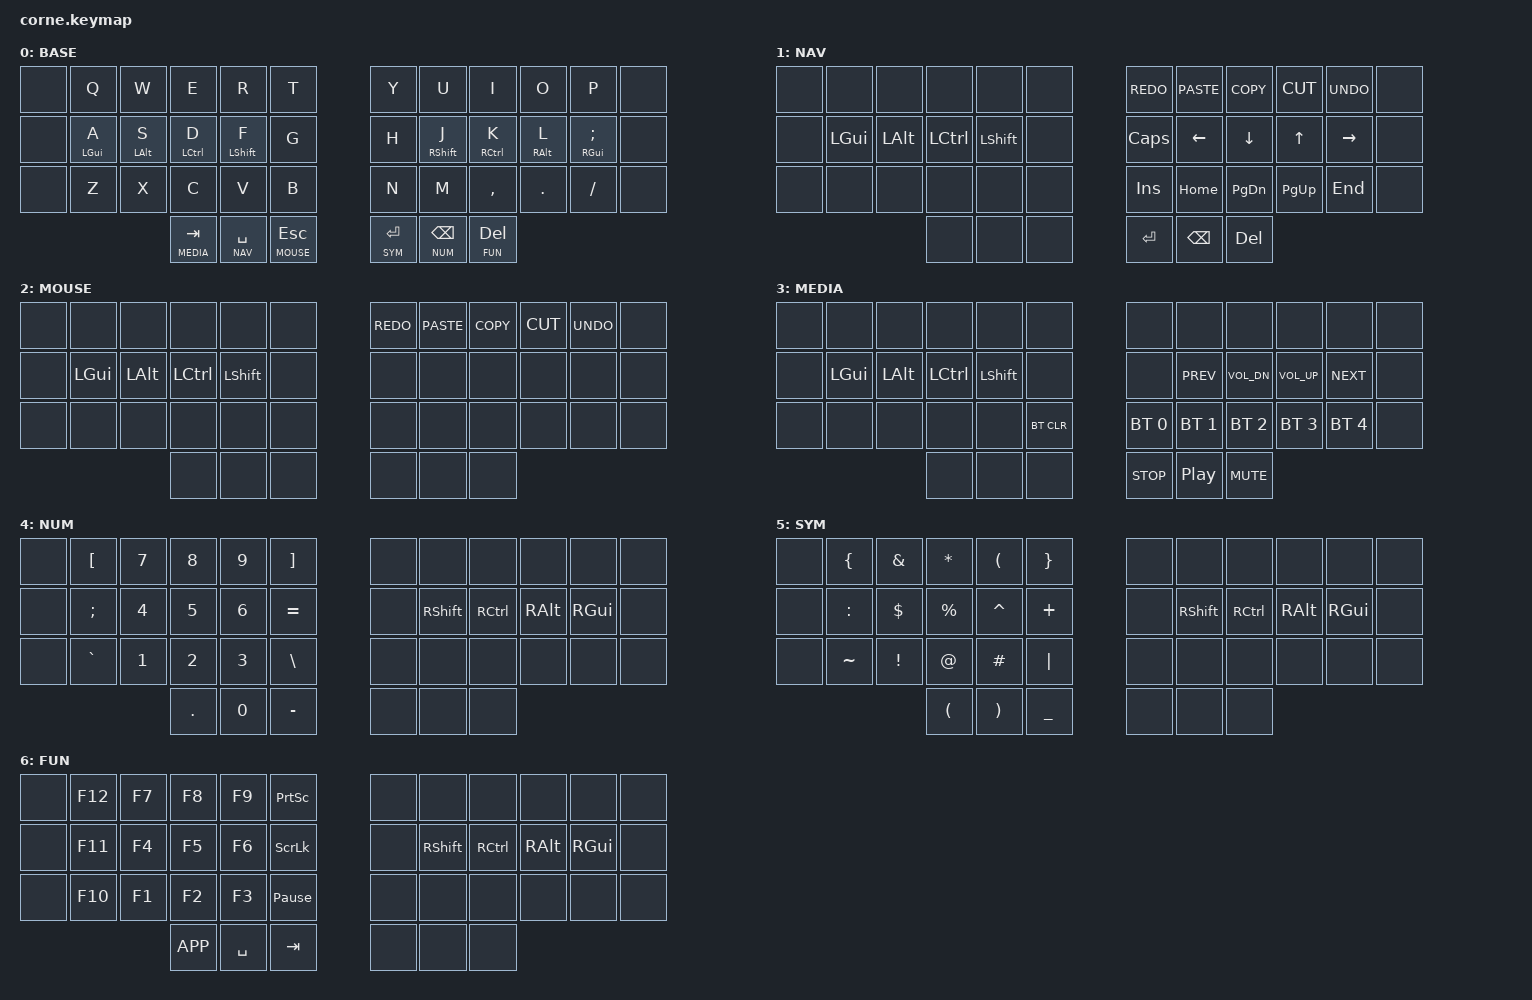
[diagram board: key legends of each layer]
/*
 * MIRYOKU LAYOUT - QWERTY VARIANT
 * For Corne 3x5+3 Split Keyboard
 *
 * This is a standalone implementation of the Miryoku layout with QWERTY alphas
 * Based on: https://github.com/manna-harbour/miryoku
 *
 * LAYOUT PHILOSOPHY:
 * - 36 keys total (30 alphas + 6 thumb keys)
 * - Home row modifiers (mod-tap keys)
 * - Layer-tap on thumbs for accessing additional layers
 * - Maximum 1-unit finger travel from home position
 * - Layers accessed by holding opposite hand thumb key
 *
 * LAYERS:
 * 0. BASE   - QWERTY alphas with home row mods
 * 1. NAV    - Navigation, editing (arrows, home/end, etc.)
 * 2. MOUSE  - Mouse emulation
 * 3. MEDIA  - Media controls, RGB, Bluetooth
 * 4. NUM    - Numbers and symbols (numpad-style)
 * 5. SYM    - Shifted symbols
 * 6. FUN    - Function keys F1-F12
 *
 * THUMB KEY ASSIGNMENTS:
 * Left:  TAB (Media) | SPACE (Nav) | ESC (Mouse)
 * Right: ENTER (Sym) | BACKSPACE (Num) | DELETE (Fun)
 *
 * HOME ROW MODS (tap for letter, hold for modifier):
 * Left:  A=GUI | S=ALT | D=CTRL | F=SHIFT
 * Right: J=SHIFT | K=CTRL | L=ALT | ;=GUI
 *
 * TAPPING TERM: 200ms (adjust to your preference)
 */

#include <behaviors.dtsi>
#include <dt-bindings/zmk/keys.h>
#include <dt-bindings/zmk/bt.h>
#include <dt-bindings/zmk/outputs.h>
#include <dt-bindings/zmk/mouse.h>

// Layer definitions
#define BASE   0
#define NAV    1
#define MOUSE  2
#define MEDIA  3
#define NUM    4
#define SYM    5
#define FUN    6

// Behavior configuration
&mt {
    tapping-term-ms = <200>;
    flavor = "tap-preferred";
};

&lt {
    tapping-term-ms = <200>;
    flavor = "tap-preferred";
};

/ {
    behaviors {
        // Home row mods (mod-tap)
        hml: homerow_mods_left {
            compatible = "zmk,behavior-hold-tap";
            #binding-cells = <2>;
            tapping-term-ms = <200>;
            quick-tap-ms = <175>;
            require-prior-idle-ms = <150>;
            flavor = "balanced";
            bindings = <&kp>, <&kp>;
            hold-trigger-key-positions = <5 6 7 8 9 15 16 17 18 19 25 26 27 28 29 32 33 34>;  // Right hand + thumbs
            hold-trigger-on-release;
        };

        hmr: homerow_mods_right {
            compatible = "zmk,behavior-hold-tap";
            #binding-cells = <2>;
            tapping-term-ms = <200>;
            quick-tap-ms = <175>;
            require-prior-idle-ms = <150>;
            flavor = "balanced";
            bindings = <&kp>, <&kp>;
            hold-trigger-key-positions = <0 1 2 3 4 10 11 12 13 14 20 21 22 23 24 30 31 32>;  // Left hand + thumbs
            hold-trigger-on-release;
        };
    };

    keymap {
        compatible = "zmk,keymap";

        /*
         * BASE LAYER (QWERTY)
         * ┌─────┬─────┬─────┬─────┬─────┐     ┌─────┬─────┬─────┬─────┬─────┐
         * │  Q  │  W  │  E  │  R  │  T  │     │  Y  │  U  │  I  │  O  │  P  │
         * ├─────┼─────┼─────┼─────┼─────┤     ├─────┼─────┼─────┼─────┼─────┤
         * │  A  │  S  │  D  │  F  │  G  │     │  H  │  J  │  K  │  L  │  ;  │
         * │ GUI │ ALT │CTRL │SHFT │     │     │     │SHFT │CTRL │ ALT │ GUI │
         * ├─────┼─────┼─────┼─────┼─────┤     ├─────┼─────┼─────┼─────┼─────┤
         * │  Z  │  X  │  C  │  V  │  B  │     │  N  │  M  │  ,  │  .  │  /  │
         * └─────┴─────┴─────┴──┬──┴──┬──┴─┐ ┌─┴──┬──┴──┬──┴─────┴─────┴─────┘
         *                │ TAB │ SPC │ ESC │ │ ENT │ BSPC│ DEL │
         *                │Media│ Nav │Mouse│ │ Sym │ Num │ Fun │
         *                │  3  │  1  │  2  │ │  5  │  4  │  6  │
         *                └─────┴─────┴─────┘ └─────┴─────┴─────┘
         */
        base_layer {
            display-name = "BASE";
            bindings = <
                &none   &kp Q           &kp W           &kp E            &kp R            &kp T              &kp Y        &kp U            &kp I            &kp O           &kp P   &none
                &none   &hml LGUI A     &hml LALT S     &hml LCTRL D     &hml LSHFT F     &kp G              &kp H        &hmr RSHFT J     &hmr RCTRL K     &hmr RALT L     &hmr RGUI SEMI  &none
                &none   &kp Z           &kp X           &kp C            &kp V            &kp B              &kp N        &kp M            &kp COMMA        &kp DOT         &kp SLASH   &none
                                                &lt MEDIA TAB    &lt NAV SPACE    &lt MOUSE ESC      &lt SYM RET  &lt NUM BSPC     &lt FUN DEL
            >;
        };

        /*
         * NAV LAYER (Navigation & Editing)
         * ┌─────┬─────┬─────┬─────┬─────┐     ┌─────┬─────┬─────┬─────┬─────┐
         * │     │     │     │     │     │     │ Redo│Paste│ Copy│ Cut │ Undo│
         * ├─────┼─────┼─────┼─────┼─────┤     ├─────┼─────┼─────┼─────┼─────┤
         * │ GUI │ ALT │CTRL │SHFT │     │     │Caps │  ←  │  ↓  │  ↑  │  →  │
         * ├─────┼─────┼─────┼─────┼─────┤     ├─────┼─────┼─────┼─────┼─────┤
         * │     │     │     │     │     │     │ Ins │ Home│ PgDn│ PgUp│ End │
         * └─────┴─────┴─────┴──┬──┴──┬──┴─┐ ┌─┴──┬──┴──┬──┴─────┴─────┴─────┘
         *                      │     │HLD │ │ ENT │ BSPC│ DEL │
         *                      └─────┴─────┘ └─────┴─────┴─────┘
         */
        nav_layer {
            display-name = "NAV";
            bindings = <
                &none   &none       &none       &none        &none        &none            &kp K_REDO   &kp K_PASTE  &kp K_COPY   &kp K_CUT    &kp K_UNDO   &none
                &none   &kp LGUI    &kp LALT    &kp LCTRL    &kp LSHFT    &none            &kp CAPS     &kp LEFT     &kp DOWN     &kp UP       &kp RIGHT    &none
                &none   &none       &none       &none        &none        &none            &kp INS      &kp HOME     &kp PG_DN    &kp PG_UP    &kp END  &none
                                        &none        &none        &none            &kp RET      &kp BSPC     &kp DEL
            >;
        };

        /*
         * MOUSE LAYER (Mouse Emulation)
         * ┌─────┬─────┬─────┬─────┬─────┐     ┌─────┬─────┬─────┬─────┬─────┐
         * │     │     │     │     │     │     │ Redo│Paste│ Copy│ Cut │ Undo│
         * ├─────┼─────┼─────┼─────┼─────┤     ├─────┼─────┼─────┼─────┼─────┤
         * │ GUI │ ALT │CTRL │SHFT │     │     │     │ Ms ←│ Ms ↓│ Ms ↑│ Ms →│
         * ├─────┼─────┼─────┼─────┼─────┤     ├─────┼─────┼─────┼─────┼─────┤
         * │     │     │     │     │     │     │     │ Wh ←│ Wh ↓│ Wh ↑│ Wh →│
         * └─────┴─────┴─────┴──┬──┴──┬──┴─┐ ┌─┴──┬──┴──┬──┴─────┴─────┴─────┘
         *                      │     │     │ │ Btn1│ Btn3│ Btn2│
         *                      └─────┴─────┘ └─────┴─────┴─────┘
         */
        mouse_layer {
            display-name = "MOUSE";
            bindings = <
                &none   &none       &none       &none        &none        &none            &kp K_REDO     &kp K_PASTE     &kp K_COPY      &kp K_CUT       &kp K_UNDO    &none
                &none   &kp LGUI    &kp LALT    &kp LCTRL    &kp LSHFT    &none            &none          &none           &none           &none           &none &none
                &none   &none       &none       &none        &none        &none            &none          &none           &none           &none           &none &none
                                        &none        &none        &none            &none          &none           &none
            >;
        };

        /*
         * MEDIA LAYER (Media Controls, RGB, Bluetooth)
         * ┌─────┬─────┬─────┬─────┬─────┐     ┌─────┬─────┬─────┬─────┬─────┐
         * │     │     │     │     │     │     │ RGB │ RGB │ RGB │ RGB │ RGB │
         * │     │     │     │     │     │     │ TOG │ HUI │ SAI │ BRI │ EFF │
         * ├─────┼─────┼─────┼─────┼─────┤     ├─────┼─────┼─────┼─────┼─────┤
         * │ GUI │ ALT │CTRL │SHFT │     │     │     │ Prev│ Vol-│ Vol+│ Next│
         * ├─────┼─────┼─────┼─────┼─────┤     ├─────┼─────┼─────┼─────┼─────┤
         * │     │     │     │     │     │     │ BT 0│ BT 1│ BT 2│ BT 3│ BT 4│
         * └─────┴─────┴─────┴──┬──┴──┬──┴─┐ ┌─┴──┬──┴──┬──┴─────┴─────┴─────┘
         *                      │ HLD │     │ │ Stop│Pause│ Mute│
         *                      └─────┴─────┘ └─────┴─────┴─────┘
         */
        media_layer {
            display-name = "MEDIA";
            bindings = <
                &none   &none       &none       &none        &none        &none            &none            &none            &none            &none            &none    &none
                &none   &kp LGUI    &kp LALT    &kp LCTRL    &kp LSHFT    &none            &none            &kp C_PREV       &kp C_VOL_DN     &kp C_VOL_UP     &kp C_NEXT   &none
                &none   &none       &none       &none        &none        &bt BT_CLR            &bt BT_SEL 0     &bt BT_SEL 1     &bt BT_SEL 2     &bt BT_SEL 3     &bt BT_SEL 4 &none
                                        &none        &none        &none            &kp C_STOP       &kp C_PP         &kp C_MUTE
            >;
        };

        /*
         * NUM LAYER (Numbers & Symbols - Numpad Style)
         * ┌─────┬─────┬─────┬─────┬─────┐     ┌─────┬─────┬─────┬─────┬─────┐
         * │  [  │  7  │  8  │  9  │  ]  │     │     │     │     │     │     │
         * ├─────┼─────┼─────┼─────┼─────┤     ├─────┼─────┼─────┼─────┼─────┤
         * │  ;  │  4  │  5  │  6  │  =  │     │     │SHFT │CTRL │ ALT │ GUI │
         * ├─────┼─────┼─────┼─────┼─────┤     ├─────┼─────┼─────┼─────┼─────┤
         * │  `  │  1  │  2  │  3  │  \  │     │     │     │     │     │     │
         * └─────┴─────┴─────┴──┬──┴──┬──┴─┐ ┌─┴──┬──┴──┬──┴─────┴─────┴─────┘
         *                      │  .  │  0  │ │     │ HLD │     │
         *                      └─────┴─────┘ └─────┴─────┴─────┘
         */
        num_layer {
            display-name = "NUM";
            bindings = <
                &none   &kp LBKT    &kp N7      &kp N8       &kp N9       &kp RBKT         &none        &none        &none        &none       &none &none
                &none   &kp SEMI    &kp N4      &kp N5       &kp N6       &kp EQUAL        &none        &kp RSHFT    &kp RCTRL    &kp RALT    &kp RGUI  &none
                &none   &kp GRAVE   &kp N1      &kp N2       &kp N3       &kp BSLH         &none        &none        &none        &none       &none &none
                                        &kp DOT      &kp N0       &kp MINUS        &none        &none        &none
            >;
        };

        /*
         * SYM LAYER (Shifted Symbols)
         * ┌─────┬─────┬─────┬─────┬─────┐     ┌─────┬─────┬─────┬─────┬─────┐
         * │  {  │  &  │  *  │  (  │  }  │     │     │     │     │     │     │
         * ├─────┼─────┼─────┼─────┼─────┤     ├─────┼─────┼─────┼─────┼─────┤
         * │  :  │  $  │  %  │  ^  │  +  │     │     │SHFT │CTRL │ ALT │ GUI │
         * ├─────┼─────┼─────┼─────┼─────┤     ├─────┼─────┼─────┼─────┼─────┤
         * │  ~  │  !  │  @  │  #  │  |  │     │     │     │     │     │     │
         * └─────┴─────┴─────┴──┬──┴──┬──┴─┐ ┌─┴──┬──┴──┬──┴─────┴─────┴─────┘
         *                      │  (  │  )  │ │ HLD │     │     │
         *                      └─────┴─────┘ └─────┴─────┴─────┘
         */
        sym_layer {
            display-name = "SYM";
            bindings = <
                &none   &kp LBRC    &kp AMPS    &kp STAR     &kp LPAR     &kp RBRC         &none        &none        &none        &none       &none &none
                &none   &kp COLON   &kp DLLR    &kp PRCNT    &kp CARET    &kp PLUS         &none        &kp RSHFT    &kp RCTRL    &kp RALT    &kp RGUI  &none
                &none   &kp TILDE   &kp EXCL    &kp AT       &kp HASH     &kp PIPE         &none        &none        &none        &none       &none &none
                                        &kp LPAR     &kp RPAR     &kp UNDER        &none        &none        &none
            >;
        };

        /*
         * FUN LAYER (Function Keys F1-F12)
         * ┌─────┬─────┬─────┬─────┬─────┐     ┌─────┬─────┬─────┬─────┬─────┐
         * │ F12 │ F7  │ F8  │ F9  │PrtSc│     │     │     │     │     │     │
         * ├─────┼─────┼─────┼─────┼─────┤     ├─────┼─────┼─────┼─────┼─────┤
         * │ F11 │ F4  │ F5  │ F6  │ScrLk│     │     │SHFT │CTRL │ ALT │ GUI │
         * ├─────┼─────┼─────┼─────┼─────┤     ├─────┼─────┼─────┼─────┼─────┤
         * │ F10 │ F1  │ F2  │ F3  │Pause│     │     │     │     │     │     │
         * └─────┴─────┴─────┴──┬──┴──┬──┴─┐ ┌─┴──┬──┴──┬──┴─────┴─────┴─────┘
         *                      │ App │ Spc │ │     │     │ HLD │
         *                      └─────┴─────┘ └─────┴─────┴─────┘
         */
        fun_layer {
            display-name = "FUN";
            bindings = <
                &none   &kp F12     &kp F7      &kp F8       &kp F9       &kp PSCRN        &none        &none        &none        &none       &none &none
                &none   &kp F11     &kp F4      &kp F5       &kp F6       &kp SLCK         &none        &kp RSHFT    &kp RCTRL    &kp RALT    &kp RGUI  &none
                &none   &kp F10     &kp F1      &kp F2       &kp F3       &kp PAUSE_BREAK  &none        &none        &none        &none       &none &none
                                        &kp K_APP    &kp SPACE    &kp TAB          &none        &none        &none
            >;
        };
    };
};
